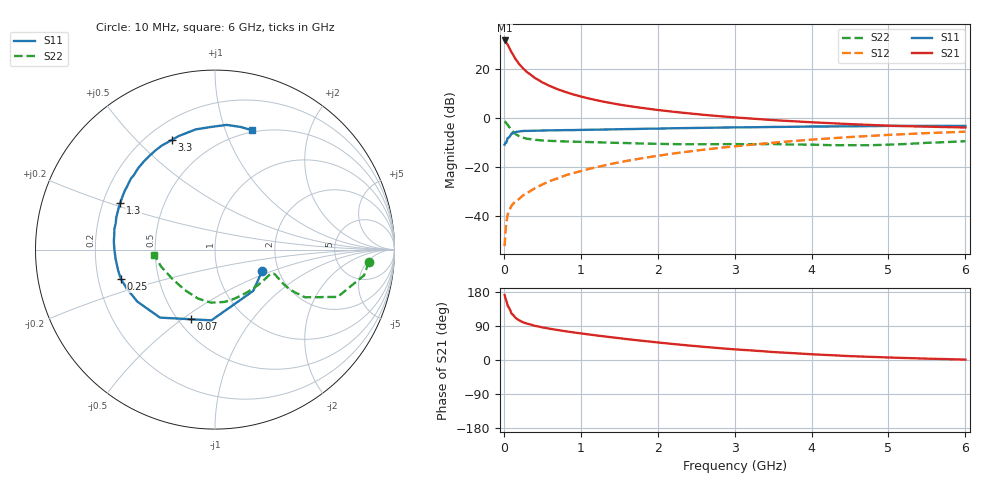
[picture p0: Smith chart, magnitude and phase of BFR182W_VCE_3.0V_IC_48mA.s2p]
! Infineon Technologies  Discrete & RF Semiconductors
! BFR182W
! VCE =  3.0 V,  IC =  48 mA
! Common Emitter S-Parameters:  Jan 2017
# GHz  S  MA  R  50
!  f  S11  S21  S12  S22
! GHz  MAG  ANG  MAG  ANG  MAG  ANG  MAG  ANG
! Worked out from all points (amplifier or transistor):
!   77 points, 10 MHz to 6 GHz, reference 50 ohm
!   highest |S21| = 31.9 dB at 10 MHz (marker M1)
!   |S21| within 3 dB of that: start of sweep to 70.4 MHz
!   unconditionally stable (mu >= 1): start of sweep to 13.68 MHz; 262.2 MHz to 2.731 GHz
!   at 130 MHz: K = 0.73, MSG = 30.1 dB, |S12| = -34.7 dB
!   at 2.2 GHz: K = 1.06, MAG = 7.1 dB, |S12| = -14.5 dB
!   at 6 GHz: K = 0.99, MSG = 0.9 dB, |S12| = -5.5 dB
!   S11 on the Smith chart (normalised r, x): 10 MHz: 1.64, -0.44; 70 MHz: 0.58, -0.54; 250 MHz: 0.30, -0.14; 1.3 GHz: 0.27, +0.22; 3.3 GHz: 0.30, +0.64; 6 GHz: 0.48, +1.24
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0.01  0.2887 -25.0  39.24 171.5  0.0024 74.0  0.8603 -4.5
0.02  0.3135 -47.3  38.69 163.6  0.0045 75.2  0.8429 -9.8
0.05  0.3946 -92.9  32.11 143.2  0.0107 62.4  0.7322 -21.1
0.07  0.4107 -109.1  27.86 136.7  0.0129 60.3  0.6654 -23.4
0.1  0.4874 -129.0  22.47 122.6  0.0161 58.2  0.5679 -27.9
0.15  0.5205 -146.1  16.49 111.5  0.02 57.2  0.4758 -28.2
0.2  0.5371 -156.0  12.86 104.6  0.0223 59.9  0.4277 -26.7
0.25  0.5493 -162.8  10.53 99.5  0.0264 61.6  0.4005 -25.1
0.3  0.5521 -167.6  8.857 96.0  0.0292 63.2  0.3816 -24.0
0.4  0.5564 -174.9  6.756 90.3  0.0365 67.6  0.3631 -22.6
0.5  0.5607 179.7  5.441 86.1  0.044 69.9  0.3515 -22.3
0.6  0.5656 175.3  4.569 82.4  0.0519 71.5  0.3446 -22.6
0.7  0.5671 171.8  3.932 79.1  0.0588 73.2  0.3395 -23.3
0.9  0.5723 165.2  3.082 73.0  0.075 73.8  0.3321 -25.9
1.1  0.581 159.2  2.553 67.6  0.0913 74.4  0.3259 -29.1
1.3  0.5875 153.9  2.179 62.4  0.1074 74.3  0.3199 -32.8
2.1  0.6185 135.3  1.419 44.3  0.1798 70.4  0.2973 -53.2
3.1  0.652 115.3  1.016 26.8  0.2758 61.5  0.2947 -83.0
3.3  0.6567 111.5  0.965 24.1  0.2957 59.4  0.2942 -88.7
4.1  0.6785 97.6  0.814 14.2  0.3743 50.5  0.2852 -112.4
5.1  0.6972 83.4  0.698 6.0  0.464 38.5  0.2916 -149.3
6  0.6963 72.8  0.647 1.1  0.5313 27.6  0.3392 -174.9
